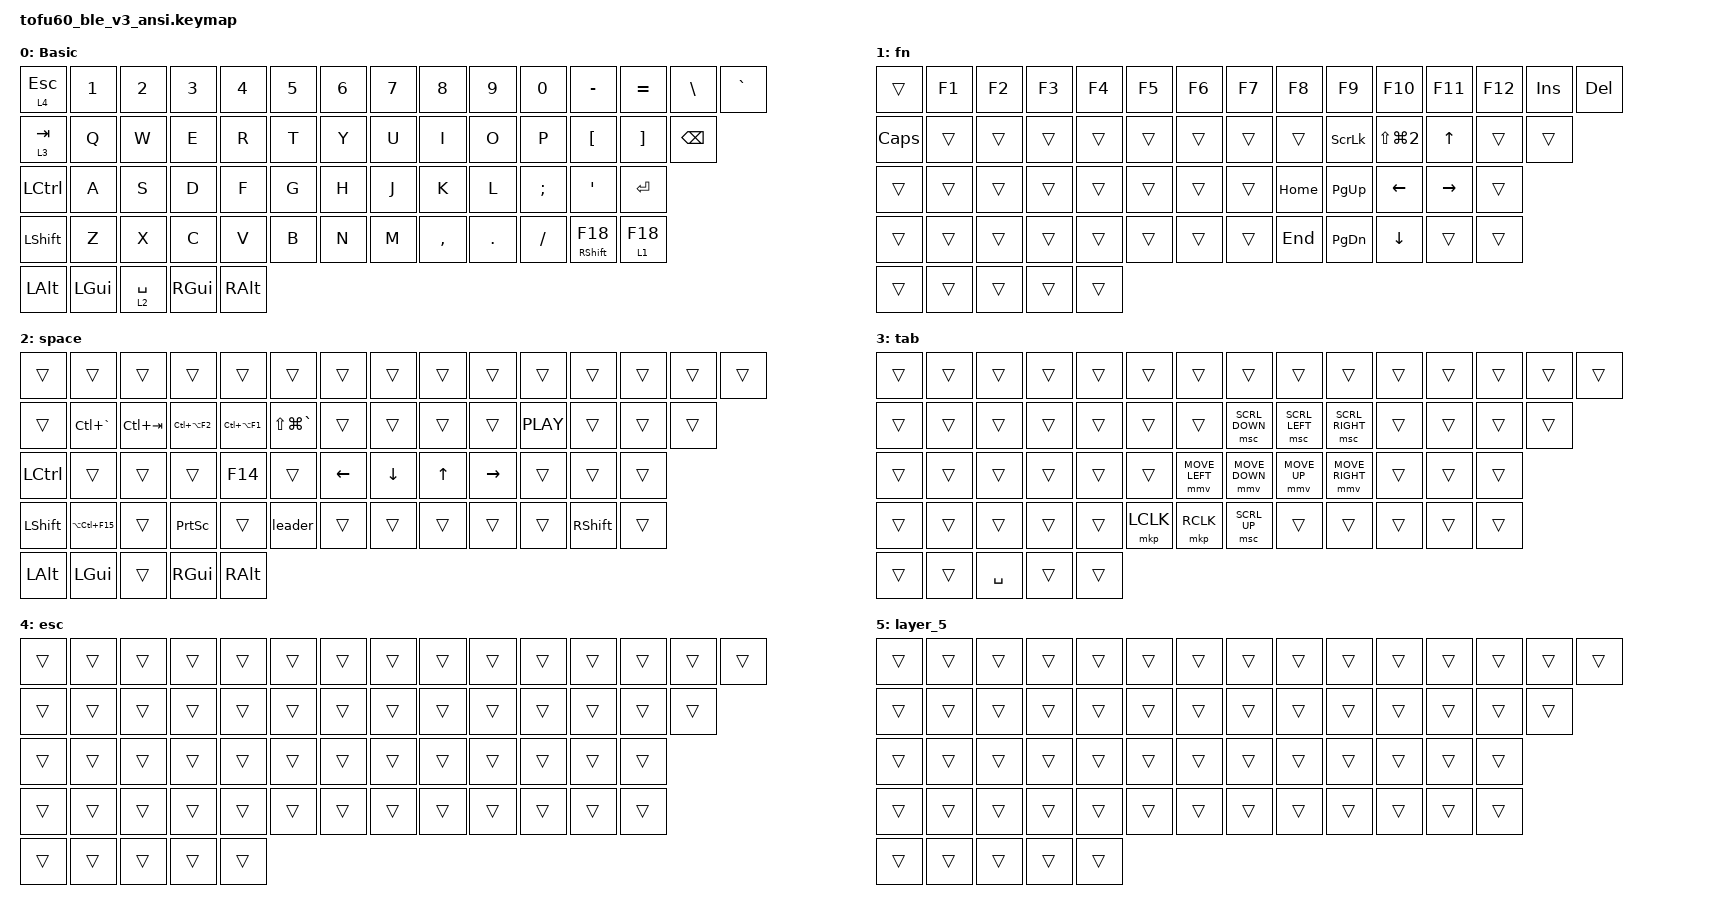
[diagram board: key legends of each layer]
#include <behaviors.dtsi>
#include <dt-bindings/zmk/keys.h>
#include <dt-bindings/zmk/pointing.h>
#include "boards/shields/klink_kbd/common.keymap"

#define UF_RESET bootloader_reset 0 0
#define UF_BT1 device_bt1 0 0
#define UF_BT2 device_bt2 0 1
#define UF_BT3 device_bt3 0 2

/ {
    behaviors {
        leader: leader {
            compatible = "zmk,behavior-leader-key";
            #binding-cells = <0>;

            usb {
                sequence = <U S B>;
                bindings = <&out OUT_USB>;
            };

            ble {
                sequence = <B L E>;
                bindings = <&out OUT_BLE>;
            };

            bt0 {
                sequence = <B N0>;
                bindings = <&bt BT_SEL 0>;
            };

            bt1 {
                sequence = <B N1>;
                bindings = <&bt BT_SEL 1>;
            };

            bt2 {
                sequence = <B N2>;
                bindings = <&bt BT_SEL 2>;
            };
        };
    };

    keymap {
        compatible = "zmk,keymap";

        Basic {
            bindings = <
&lt 4 ESC         &kp N1        &kp N2       &kp N3         &kp N4         &kp N5  &kp N6  &kp N7  &kp N8     &kp N9      &kp N0     &kp MINUS            &kp EQUAL  &kp BSLH       &kp GRAVE
&lt 3 TAB         &kp Q         &kp W        &kp E          &kp R          &kp T   &kp Y   &kp U   &kp I      &kp O       &kp P      &kp LBKT             &kp RBKT   &kp BACKSPACE
&kp LEFT_CONTROL  &kp A         &kp S        &kp D          &kp F          &kp G   &kp H   &kp J   &kp K      &kp L       &kp SEMI   &kp SQT              &kp RET
&kp LSHFT         &kp Z         &kp X        &kp C          &kp V          &kp B   &kp N   &kp M   &kp COMMA  &kp PERIOD  &kp SLASH  &mt RIGHT_SHIFT F18  &lt 1 F18
&kp LEFT_ALT      &kp LEFT_GUI  &lt 2 SPACE  &kp RIGHT_GUI  &kp RIGHT_ALT
            >;
        };

        fn {
            bindings = <
&trans        &kp F1  &kp F2  &kp F3  &kp F4  &kp F5  &kp F6  &kp F7  &kp F8    &kp F9          &kp F10               &kp F11    &kp F12  &kp INS  &kp DEL
&kp CAPSLOCK  &trans  &trans  &trans  &trans  &trans  &trans  &trans  &trans    &kp SCROLLLOCK  &kp LS(LG(NUMBER_2))  &kp UP     &trans   &trans
&trans        &trans  &trans  &trans  &trans  &trans  &trans  &trans  &kp HOME  &kp PG_UP       &kp LEFT              &kp RIGHT  &trans
&trans        &trans  &trans  &trans  &trans  &trans  &trans  &trans  &kp END   &kp PAGE_DOWN   &kp DOWN              &trans     &trans
&trans        &trans  &trans  &trans  &trans
            >;
        };

        space {
            bindings = <
&trans     &trans           &trans       &trans           &trans          &trans             &trans    &trans    &trans  &trans     &trans      &trans     &trans  &trans  &trans
&trans     &kp LC(GRAVE)    &kp LC(TAB)  &kp LC(LA(F2))   &kp LC(LA(F1))  &kp LS(LG(GRAVE))  &trans    &trans    &trans  &trans     &kp C_PLAY  &trans     &trans  &trans
&kp LCTRL  &trans           &trans       &trans           &kp F14         &trans             &kp LEFT  &kp DOWN  &kp UP  &kp RIGHT  &trans      &trans     &trans
&kp LSHFT  &kp LA(LC(F15))  &trans       &kp PRINTSCREEN  &trans          &leader            &trans    &trans    &trans  &trans     &trans      &kp RSHFT  &trans
&kp LALT   &kp LGUI         &trans       &kp RGUI         &kp RALT
            >;
        };

        tab {
            bindings = <
&trans  &trans  &trans     &trans  &trans  &trans     &trans          &trans          &trans          &trans           &trans  &trans  &trans  &trans  &trans
&trans  &trans  &trans     &trans  &trans  &trans     &trans          &msc SCRL_DOWN  &msc SCRL_LEFT  &msc SCRL_RIGHT  &trans  &trans  &trans  &trans
&trans  &trans  &trans     &trans  &trans  &trans     &mmv MOVE_LEFT  &mmv MOVE_DOWN  &mmv MOVE_UP    &mmv MOVE_RIGHT  &trans  &trans  &trans
&trans  &trans  &trans     &trans  &trans  &mkp LCLK  &mkp RCLK       &msc SCRL_UP    &trans          &trans           &trans  &trans  &trans
&trans  &trans  &kp SPACE  &trans  &trans
            >;
        };

        esc {
            bindings = <
&trans  &trans  &trans  &trans  &trans  &trans  &trans  &trans  &trans  &trans  &trans  &trans  &trans  &trans  &trans
&trans  &trans  &trans  &trans  &trans  &trans  &trans  &trans  &trans  &trans  &trans  &trans  &trans  &trans
&trans  &trans  &trans  &trans  &trans  &trans  &trans  &trans  &trans  &trans  &trans  &trans  &trans
&trans  &trans  &trans  &trans  &trans  &trans  &trans  &trans  &trans  &trans  &trans  &trans  &trans
&trans  &trans  &trans  &trans  &trans
            >;
        };

        layer_5 {
            bindings = <
&trans  &trans  &trans  &trans  &trans  &trans  &trans  &trans  &trans  &trans  &trans  &trans  &trans  &trans  &trans
&trans  &trans  &trans  &trans  &trans  &trans  &trans  &trans  &trans  &trans  &trans  &trans  &trans  &trans
&trans  &trans  &trans  &trans  &trans  &trans  &trans  &trans  &trans  &trans  &trans  &trans  &trans
&trans  &trans  &trans  &trans  &trans  &trans  &trans  &trans  &trans  &trans  &trans  &trans  &trans
&trans  &trans  &trans  &trans  &trans
            >;
        };
    };
};
